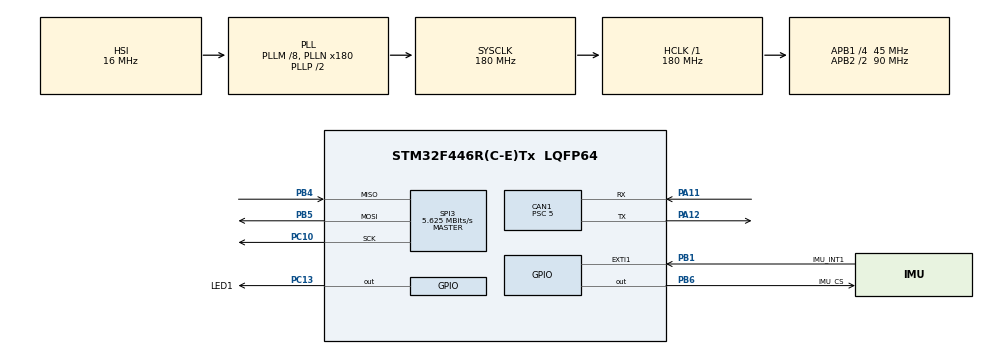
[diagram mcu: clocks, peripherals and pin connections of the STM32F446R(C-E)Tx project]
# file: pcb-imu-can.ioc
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CAN1.ABOM=ENABLE
CAN1.BS1=CAN_BS1_6TQ
CAN1.BS2=CAN_BS2_2TQ
CAN1.CalculateBaudRate=1000000
CAN1.CalculateTimeBit=1000
CAN1.CalculateTimeQuantum=111.11111111111111
CAN1.Prescaler=5
Mcu.Family=STM32F4
Mcu.Name=STM32F446R(C-E)Tx
Mcu.Package=LQFP64
NVIC.EXTI1_IRQn=true\:0\:0\:false\:false\:true\:true\:true\:true
NVIC.PriorityGroup=NVIC_PRIORITYGROUP_4
PA11.Mode=CAN_Activate
PA11.Signal=CAN1_RX
PA12.Mode=CAN_Activate
PA12.Signal=CAN1_TX
PA13.Mode=Serial_Wire
PA13.Signal=SYS_JTMS-SWDIO
PA14.Mode=Serial_Wire
PA14.Signal=SYS_JTCK-SWCLK
PB1.GPIO_Label=IMU_INT1
PB1.GPIO_PuPd=GPIO_PULLDOWN
PB1.Signal=GPXTI1
PB3.Signal=SYS_JTDO-SWO
PB4.Mode=Full_Duplex_Master
PB4.Signal=SPI3_MISO
PB5.Mode=Full_Duplex_Master
PB5.Signal=SPI3_MOSI
PB6.GPIO_Label=IMU_CS
PB6.PinState=GPIO_PIN_SET
PB6.Signal=GPIO_Output
PC10.Mode=Full_Duplex_Master
PC10.Signal=SPI3_SCK
PC13.GPIO_Label=LED1
PC13.Signal=GPIO_Output
ProjectManager.HeapSize=0x200
ProjectManager.StackSize=0x400
ProjectManager.TargetToolchain=STM32CubeIDE
RCC.AHBFreq_Value=180000000
RCC.APB1CLKDivider=RCC_HCLK_DIV4
RCC.APB1Freq_Value=45000000
RCC.APB1TimFreq_Value=90000000
RCC.APB2CLKDivider=RCC_HCLK_DIV2
RCC.APB2Freq_Value=90000000
RCC.APB2TimFreq_Value=180000000
RCC.CortexFreq_Value=180000000
RCC.HCLKFreq_Value=180000000
RCC.PLLM=8
RCC.PLLN=180
RCC.SYSCLKFreq_VALUE=180000000
RCC.SYSCLKSource=RCC_SYSCLKSOURCE_PLLCLK
RCC.USBFreq_Value=180000000
RCC.VCOOutputFreq_Value=360000000
SPI3.BaudRatePrescaler=SPI_BAUDRATEPRESCALER_8
SPI3.CLKPhase=SPI_PHASE_2EDGE
SPI3.CLKPolarity=SPI_POLARITY_HIGH
SPI3.CalculateBaudRate=5.625 MBits/s
SPI3.Direction=SPI_DIRECTION_2LINES
SPI3.Mode=SPI_MODE_MASTER
SPI3.VirtualType=VM_MASTER
board=custom

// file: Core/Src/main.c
/* USER CODE BEGIN Header */
/**
  ******************************************************************************
  * @file           : main.c
  * @brief          : Main program body
  ******************************************************************************
  * @attention
  *
  * Copyright (c) 2026 STMicroelectronics.
  * All rights reserved.
  *
  * This software is licensed under terms that can be found in the LICENSE file
  * in the root directory of this software component.
  * If no LICENSE file comes with this software, it is provided AS-IS.
  *
  ******************************************************************************
  */
/* USER CODE END Header */
#include "main.h"
#include "can.h"
#include "spi.h"
#include "gpio.h"

/* USER CODE BEGIN Includes */
#include "lsm6dso32_reg.h"
#include "lsm6dso32_port.h"

/* USER CODE END Includes */

/* USER CODE BEGIN PD */
#define IMU_ACCEL_CAN_ID     0x065U   // Give each additional board its own pair of IDs
#define IMU_GYRO_CAN_ID      0x066U
#define CAN_TX_TIMEOUT_MS    3U       // An 8-byte frame at 1 Mbit/s takes ~0.13 ms
#define IMU_BOOT_TIME_MS     35U      // Datasheet turn-on time
#define IMU_RESET_TIMEOUT_MS 100U     // Ceiling on the software-reset flag poll
#define IMU_STALE_TIMEOUT_MS 100U     // LED1 goes solid if no sample arrives for this long
#define LED_BLINK_MS         500U     // LED1 toggle period while pairs are being ACKed
#define ERROR_BLINK_LOOPS    2000000U // Busy-wait count per LED toggle in Error_Handler (roughly 0.1 s at 180 MHz)

/* USER CODE END PD */

/* USER CODE BEGIN PV */
/* Must outlive the ctx: lsm6dso32_spi_ctx() keeps a pointer to it. */
static lsm6dso32_spi_bus_t imu_bus = { &hspi3, IMU_CS_GPIO_Port, IMU_CS_Pin };
static stmdev_ctx_t imu;

static uint16_t imu_sequence;
static uint32_t last_sample_tick;
static uint32_t last_blink_tick;

/* Set by the INT1 (gyro data-ready) EXTI callback, cleared by imu_stream() */
static volatile uint8_t imu_drdy;

/* Inspect these in the debugger. CAN ESR includes LEC, TEC, REC and bus-off. */
volatile uint8_t  imu_whoami;
volatile uint32_t imu_drdy_overruns; // INT1 fired again before the last sample was taken
volatile uint32_t imu_samples;
volatile uint32_t imu_read_errors;
volatile uint32_t can_pairs_sent;
volatile uint32_t can_pairs_dropped;
volatile uint32_t can_last_esr;
volatile uint32_t can_last_tsr;

/* USER CODE END PV */

void SystemClock_Config(void);
/* USER CODE BEGIN PFP */
static void imu_init(void);
static void imu_stream(void);
static void imu_pack_frame(uint8_t *out, uint16_t sequence, const int16_t *axes);
static HAL_StatusTypeDef CAN_Send_Frame(uint32_t id, const uint8_t *data);

/* USER CODE END PFP */

/* USER CODE BEGIN 0 */

/**
  * @brief  Data-ready interrupt from the sensor's INT1 pin. Only raises a
  *         flag: SPI and CAN work stays in the main loop.
  * @param  GPIO_Pin  Pin whose EXTI line fired
  * @retval None
  */
void HAL_GPIO_EXTI_Callback(uint16_t GPIO_Pin)
{
  if (GPIO_Pin == IMU_INT1_Pin) {
    if (imu_drdy)
      imu_drdy_overruns++;
    imu_drdy = 1;
  }
}

/**
  * @brief  Brings the LSM6DSO32 up on SPI3: confirms the sensor is responsive,
  *         restores a known register state, locks the bus to SPI, then sets
  *         the output ranges and data rates.
  * @retval None (traps in Error_Handler if any step fails)
  */
static void imu_init(void)
{
  uint8_t whoami = 0;
  uint8_t rst = 1;

  /* Constructor drives the chip select line idle-high */
  imu = lsm6dso32_spi_ctx(&imu_bus);

  /* Allow sensor turn-on time before the first transaction */
  HAL_Delay(IMU_BOOT_TIME_MS);

  /* Read imu_whoami in the debugger -- on a new board the value points at the
     fault:
       0x00        MISO stuck low: not connected, or sensor not driving it
       0xFF        MISO floating high: CS not reaching the sensor, or no power
       0xD8 / 0x36 0x6C shifted by a bit: stray clock edge, check CPOL/CPHA
       other       wrong part, or a short on the bus */
  int32_t id_status = lsm6dso32_device_id_get(&imu, &whoami);

  imu_whoami = whoami;

  if (id_status != 0 || whoami != LSM6DSO32_ID)
    Error_Handler();

  /* Software reset, then wait for sensor to clear the flag. Bounded so a bus
     dropout here traps instead of hanging silently */
  if (lsm6dso32_reset_set(&imu, PROPERTY_ENABLE) != 0)
    Error_Handler();

  uint32_t reset_start = HAL_GetTick();

  do {
    if (lsm6dso32_reset_get(&imu, &rst) != 0 ||
        HAL_GetTick() - reset_start >= IMU_RESET_TIMEOUT_MS)
      Error_Handler();
  } while (rst);

  /* Disable I2C and set the 4-wire mode for SPI. With block data update on,
     output registers are not updated until both MSB and LSB have been read.
     Scale factors in the README must match these ranges */
  if (lsm6dso32_i2c_interface_set(&imu, LSM6DSO32_I2C_DISABLE) != 0 ||
      lsm6dso32_spi_mode_set(&imu, LSM6DSO32_SPI_4_WIRE) != 0 ||
      lsm6dso32_auto_increment_set(&imu, PROPERTY_ENABLE) != 0 ||
      lsm6dso32_block_data_update_set(&imu, PROPERTY_ENABLE) != 0 ||
      lsm6dso32_xl_full_scale_set(&imu, LSM6DSO32_16g) != 0 ||
      lsm6dso32_gy_full_scale_set(&imu, LSM6DSO32_2000dps) != 0 ||
      lsm6dso32_xl_data_rate_set(&imu, LSM6DSO32_XL_ODR_417Hz_HIGH_PERF) != 0 ||
      lsm6dso32_gy_data_rate_set(&imu, LSM6DSO32_GY_ODR_417Hz_HIGH_PERF) != 0)
    Error_Handler();

  /* Low-pass the accelerometer with LPF2 (corner ODR/20, ~21 Hz at 417 Hz) and
     the gyro with LPF1 (AGGRESSIVE is 24.6 Hz at 417 Hz, see the LPF1 table in
     the datasheet). Both corners depend on the ODR, so revisit them if it
     changes. Settling mask suppresses the filter transient after reset */
  if (lsm6dso32_xl_filter_lp2_set(&imu, PROPERTY_ENABLE) != 0 ||
      lsm6dso32_xl_hp_path_on_out_set(&imu, LSM6DSO32_LP_ODR_DIV_20) != 0 ||
      lsm6dso32_gy_filter_lp1_set(&imu, PROPERTY_ENABLE) != 0 ||
      lsm6dso32_gy_lp1_bandwidth_set(&imu, LSM6DSO32_AGGRESSIVE) != 0 ||
      lsm6dso32_filter_settling_mask_set(&imu, PROPERTY_ENABLE) != 0)
    Error_Handler();

  /* Route only gyro data-ready to INT1 (routing drdy_xl too would give two
     edges per sample, since the two paths are not bit-aligned). Pulsed rather
     than latched, so a missed edge cannot leave the line stuck high */
  lsm6dso32_pin_int1_route_t int1 = {0};

  int1.int1_ctrl.int1_drdy_g = PROPERTY_ENABLE;

  if (lsm6dso32_pin_int1_route_set(&imu, &int1) != 0 ||
      lsm6dso32_data_ready_mode_set(&imu, LSM6DSO32_DRDY_PULSED) != 0)
    Error_Handler();
}

/**
  * @brief  Sends one accel frame and one gyro frame per INT1 data-ready
  *         interrupt. Returns immediately when the flag is clear, so the
  *         sensor sets the pace and no SPI traffic happens until a sample
  *         actually exists.
  *
  *         LED1 toggles every LED_BLINK_MS while pairs are being ACKed. It is
  *         solid on after a failed send or read, or if samples stop arriving.
  * @retval None
  */
static void imu_stream(void)
{
  int16_t raw_xl[3];
  int16_t raw_gy[3];
  uint8_t xl_frame[8];
  uint8_t gy_frame[8];

  /* No interrupt yet. SysTick still wakes the loop every 1 ms, so a dead
     INT1 line or stalled sensor is caught here */
  if (!imu_drdy) {
    if (HAL_GetTick() - last_sample_tick >= IMU_STALE_TIMEOUT_MS)
      HAL_GPIO_WritePin(LED1_GPIO_Port, LED1_Pin, GPIO_PIN_SET);
    return;
  }
  imu_drdy = 0;

  /* Reading the output registers is what clears the data-ready flags and
     releases the BDU hold for the next sample. Failed reads are never sent */
  if (lsm6dso32_acceleration_raw_get(&imu, raw_xl) != 0 ||
      lsm6dso32_angular_rate_raw_get(&imu, raw_gy) != 0) {
    imu_read_errors++;
    HAL_GPIO_WritePin(LED1_GPIO_Port, LED1_Pin, GPIO_PIN_SET);
    return;
  }

  imu_samples++;
  last_sample_tick = HAL_GetTick();

  imu_pack_frame(xl_frame, imu_sequence, raw_xl);
  imu_pack_frame(gy_frame, imu_sequence, raw_gy);
  imu_sequence++; // Advance even on loss so the receiver can count missing pairs

  if (CAN_Send_Frame(IMU_ACCEL_CAN_ID, xl_frame) == HAL_OK &&
      CAN_Send_Frame(IMU_GYRO_CAN_ID, gy_frame) == HAL_OK) {
    can_pairs_sent++;

    if (HAL_GetTick() - last_blink_tick >= LED_BLINK_MS) {
      last_blink_tick = HAL_GetTick();
      HAL_GPIO_TogglePin(LED1_GPIO_Port, LED1_Pin);
    }
  } else {
    can_pairs_dropped++;
    HAL_GPIO_WritePin(LED1_GPIO_Port, LED1_Pin, GPIO_PIN_SET);
  }
}

/**
  * @brief  Packs one reading into a CAN payload, all fields little endian:
  *           bytes 0..1  uint16 sequence
  *           bytes 2..7  int16 X, Y, Z in raw sensor counts
  * @retval None
  */
static void imu_pack_frame(uint8_t *out, uint16_t sequence, const int16_t *axes)
{
  out[0] = (uint8_t)sequence;
  out[1] = (uint8_t)(sequence >> 8);

  for (int i = 0; i < 3; i++) {
    uint16_t axis = (uint16_t)axes[i];

    out[2 + (2 * i)] = (uint8_t)axis;
    out[3 + (2 * i)] = (uint8_t)(axis >> 8);
  }
}

/**
  * @brief  Sends one standard-ID, 8-byte frame and waits for the attempt to
  *         finish. CAN TX interrupts must stay off alongside this polling.
  * @retval HAL_OK only if another node ACKed the frame
  */
static HAL_StatusTypeDef CAN_Send_Frame(uint32_t id, const uint8_t *data)
{
  CAN_TxHeaderTypeDef TxHeader = {0};
  uint32_t TxMailbox = 0;

  TxHeader.StdId = id;
  TxHeader.IDE   = CAN_ID_STD;
  TxHeader.RTR   = CAN_RTR_DATA;
  TxHeader.DLC   = 8;

  // Queue CAN frame if there's a free mailbox
  if (HAL_CAN_GetTxMailboxesFreeLevel(&hcan1) == 0 ||
      HAL_CAN_AddTxMessage(&hcan1, &TxHeader, data, &TxMailbox) != HAL_OK)
    return HAL_ERROR;

  // Wait for the transmission attempt to finish
  uint32_t start = HAL_GetTick();

  while (HAL_CAN_IsTxMessagePending(&hcan1, TxMailbox)) {
    if (HAL_GetTick() - start >= CAN_TX_TIMEOUT_MS) {
      HAL_CAN_AbortTxRequest(&hcan1, TxMailbox);
      can_last_esr = hcan1.Instance->ESR;
      can_last_tsr = hcan1.Instance->TSR;
      return HAL_TIMEOUT;
    }
  }

  // TXOK is only set if the frame went out and was ACKed by another node
  uint32_t txok_bit = (TxMailbox == CAN_TX_MAILBOX0) ? CAN_TSR_TXOK0 :
                      (TxMailbox == CAN_TX_MAILBOX1) ? CAN_TSR_TXOK1 : CAN_TSR_TXOK2;
  uint32_t rqcp_bit = (TxMailbox == CAN_TX_MAILBOX0) ? CAN_TSR_RQCP0 :
                      (TxMailbox == CAN_TX_MAILBOX1) ? CAN_TSR_RQCP1 : CAN_TSR_RQCP2;

  can_last_esr = hcan1.Instance->ESR;
  can_last_tsr = hcan1.Instance->TSR;

  // Writing RQCP clears this mailbox's flags, so can_last_tsr only ever shows the latest attempt
  hcan1.Instance->TSR = rqcp_bit;

  return (can_last_tsr & txok_bit) ? HAL_OK : HAL_ERROR;
}

/* USER CODE END 0 */

int main(void)
{

  /* MCU Configuration--------------------------------------------------------*/

  /* Reset of all peripherals, Initializes the Flash interface and the Systick. */
  HAL_Init();

  /* Configure the system clock */
  SystemClock_Config();

  /* Initialize all configured peripherals */
  MX_GPIO_Init();
  MX_CAN1_Init();
  MX_SPI3_Init();
  /* USER CODE BEGIN 2 */
  imu_init();

  if (HAL_CAN_Start(&hcan1) != HAL_OK)
    Error_Handler();

  /* Start the stale-sample clock here: the gyro's turn-on time alone could
     otherwise read as a stalled stream on the first pass */
  last_sample_tick = HAL_GetTick();
  last_blink_tick = last_sample_tick;

  /* USER CODE END 2 */

  /* Infinite loop */
  while (1)
  {

    /* USER CODE BEGIN 3 */
    /* Sleep until the next interrupt (INT1 or SysTick). PRIMASK closes the
       window where INT1 could fire between the check and the WFI: a pending
       IRQ still wakes WFI with PRIMASK set, and runs once it is cleared */
    __disable_irq();
    if (!imu_drdy)
      __WFI();
    __enable_irq();

    imu_stream();
  }
  /* USER CODE END 3 */
}

void SystemClock_Config(void)
{
  RCC_OscInitTypeDef RCC_OscInitStruct = {0};
  RCC_ClkInitTypeDef RCC_ClkInitStruct = {0};

  /** Configure the main internal regulator output voltage
  */
  __HAL_RCC_PWR_CLK_ENABLE();
  __HAL_PWR_VOLTAGESCALING_CONFIG(PWR_REGULATOR_VOLTAGE_SCALE1);

  /** Initializes the RCC Oscillators according to the specified parameters
  * in the RCC_OscInitTypeDef structure.
  */
  RCC_OscInitStruct.OscillatorType = RCC_OSCILLATORTYPE_HSI;
  RCC_OscInitStruct.HSIState = RCC_HSI_ON;
  RCC_OscInitStruct.HSICalibrationValue = RCC_HSICALIBRATION_DEFAULT;
  RCC_OscInitStruct.PLL.PLLState = RCC_PLL_ON;
  RCC_OscInitStruct.PLL.PLLSource = RCC_PLLSOURCE_HSI;
  RCC_OscInitStruct.PLL.PLLM = 8;
  RCC_OscInitStruct.PLL.PLLN = 180;
  RCC_OscInitStruct.PLL.PLLP = RCC_PLLP_DIV2;
  RCC_OscInitStruct.PLL.PLLQ = 2;
  RCC_OscInitStruct.PLL.PLLR = 2;
  if (HAL_RCC_OscConfig(&RCC_OscInitStruct) != HAL_OK)
  {
    Error_Handler();
  }

  /** Activate the Over-Drive mode
  */
  if (HAL_PWREx_EnableOverDrive() != HAL_OK)
  {
    Error_Handler();
  }

  /** Initializes the CPU, AHB and APB buses clocks
  */
  RCC_ClkInitStruct.ClockType = RCC_CLOCKTYPE_HCLK|RCC_CLOCKTYPE_SYSCLK
                              |RCC_CLOCKTYPE_PCLK1|RCC_CLOCKTYPE_PCLK2;
  RCC_ClkInitStruct.SYSCLKSource = RCC_SYSCLKSOURCE_PLLCLK;
  RCC_ClkInitStruct.AHBCLKDivider = RCC_SYSCLK_DIV1;
  RCC_ClkInitStruct.APB1CLKDivider = RCC_HCLK_DIV4;
  RCC_ClkInitStruct.APB2CLKDivider = RCC_HCLK_DIV2;

  if (HAL_RCC_ClockConfig(&RCC_ClkInitStruct, FLASH_LATENCY_5) != HAL_OK)
  {
    Error_Handler();
  }
}

void Error_Handler(void)
{
  /* USER CODE BEGIN Error_Handler_Debug */
  /* User can add his own implementation to report the HAL error return state */
  __disable_irq();
  while (1)
  {
    // Fast blink so startup errors are distinguishable from a solid "not sending" LED.
    // Busy-wait because interrupts are off, so HAL_Delay() would hang.
    HAL_GPIO_TogglePin(LED1_GPIO_Port, LED1_Pin);
    for (volatile uint32_t i = 0; i < ERROR_BLINK_LOOPS; i++);
  }
  /* USER CODE END Error_Handler_Debug */
}
